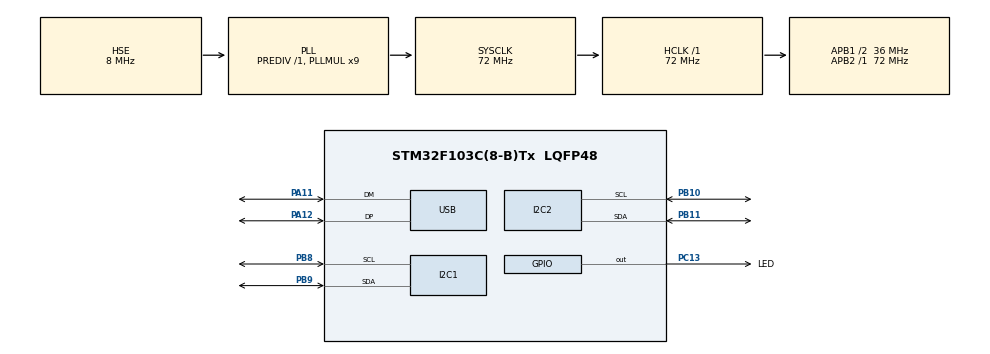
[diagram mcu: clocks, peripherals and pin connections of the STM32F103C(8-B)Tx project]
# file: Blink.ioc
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I2C1.I2C_Mode=I2C_Fast
I2C2.I2C_Mode=I2C_Fast
Mcu.Family=STM32F1
Mcu.Name=STM32F103C(8-B)Tx
Mcu.Package=LQFP48
NVIC.PriorityGroup=NVIC_PRIORITYGROUP_4
NVIC.USB_LP_CAN1_RX0_IRQn=true\:0\:0\:false\:false\:true\:false\:true
PA11.Mode=Device
PA11.Signal=USB_DM
PA12.Mode=Device
PA12.Signal=USB_DP
PA13.Mode=Serial_Wire
PA13.Signal=SYS_JTMS-SWDIO
PA14.Mode=Serial_Wire
PA14.Signal=SYS_JTCK-SWCLK
PB10.Mode=I2C
PB10.Signal=I2C2_SCL
PB11.Mode=I2C
PB11.Signal=I2C2_SDA
PB8.GPIO_Mode=GPIO_MODE_AF_OD
PB8.Mode=I2C
PB8.Signal=I2C1_SCL
PB9.GPIO_Mode=GPIO_MODE_AF_OD
PB9.Mode=I2C
PB9.Signal=I2C1_SDA
PC13-TAMPER-RTC.GPIO_Label=LED
PC13-TAMPER-RTC.Signal=GPIO_Output
PD0-OSC_IN.Mode=HSE-External-Oscillator
PD0-OSC_IN.Signal=RCC_OSC_IN
PD1-OSC_OUT.Mode=HSE-External-Oscillator
PD1-OSC_OUT.Signal=RCC_OSC_OUT
ProjectManager.HeapSize=0x200
ProjectManager.StackSize=0x400
ProjectManager.TargetToolchain=STM32CubeIDE
RCC.AHBFreq_Value=72000000
RCC.APB1CLKDivider=RCC_HCLK_DIV2
RCC.APB1Freq_Value=36000000
RCC.APB1TimFreq_Value=72000000
RCC.APB2Freq_Value=72000000
RCC.APB2TimFreq_Value=72000000
RCC.HCLKFreq_Value=72000000
RCC.PLLMUL=RCC_PLL_MUL9
RCC.PLLSourceVirtual=RCC_PLLSOURCE_HSE
RCC.SYSCLKFreq_VALUE=72000000
RCC.SYSCLKSource=RCC_SYSCLKSOURCE_PLLCLK
RCC.USBFreq_Value=48000000
RCC.USBPrescaler=RCC_USBCLKSOURCE_PLL_DIV1_5
USB_DEVICE.CLASS_NAME_FS=CDC
USB_DEVICE.VirtualMode=Cdc
USB_DEVICE.VirtualModeFS=Cdc_FS
VP_USB_DEVICE_VS_USB_DEVICE_CDC_FS.Mode=CDC_FS
board=custom

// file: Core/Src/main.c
/* USER CODE BEGIN Header */
/**
  ******************************************************************************
  * @file           : main.c
  * @brief          : Main program body
  ******************************************************************************
  * @attention
  *
  * <h2><center>&copy; Copyright (c) 2020 STMicroelectronics.
  * All rights reserved.</center></h2>
  *
  * This software component is licensed by ST under BSD 3-Clause license,
  * the "License"; You may not use this file except in compliance with the
  * License. You may obtain a copy of the License at:
  *                        opensource.org/licenses/BSD-3-Clause
  *
  ******************************************************************************
  */
/* USER CODE END Header */

#include "main.h"
#include "usb_device.h"

I2C_HandleTypeDef hi2c1;
I2C_HandleTypeDef hi2c2;

/* USER CODE BEGIN PV */
char CDC_tx_buff[60];//El buffer para enviar los datos por usb
uint8_t CDC_tx_size;//tamaño de buffer
char CDC_rx_flag;//Variable que se modifica en el archivo  usbd_cdc_if.c
extern uint8_t CDC_Transmit_FS(uint8_t* Buf, uint16_t Len); //Función que se usa para enviar por usbd_cdc_if.c
/* USER CODE END PV */

void SystemClock_Config(void);
static void MX_GPIO_Init(void);
static void MX_I2C1_Init(void);
static void MX_I2C2_Init(void);

int main(void)
{

  /* MCU Configuration--------------------------------------------------------*/

  /* Reset of all peripherals, Initializes the Flash interface and the Systick. */
  HAL_Init();

  /* Configure the system clock */
  SystemClock_Config();

  /* Initialize all configured peripherals */
  MX_GPIO_Init();
  MX_I2C1_Init();
  MX_USB_DEVICE_Init();
  MX_I2C2_Init();

  /* Infinite loop */
  /* USER CODE BEGIN WHILE */

  while (1)
  {
	HAL_Delay(100);
	CDC_tx_size=sprintf(CDC_tx_buff,"Scanning I2C bus:\r\n");//Guarda en la variable CDC_tx_buff el string y el tamaño del string queda en CDC_size_buff
	CDC_Transmit_FS((uint8_t *)&CDC_tx_buff,CDC_tx_size);//Transmite por USB
	uint8_t i=1;
	for (i=1; i<128; i++)
	{
		int result = HAL_I2C_IsDeviceReady(&hi2c2,i<<1,1,1);
		if (result != HAL_OK) // HAL_ERROR or HAL_BUSY or HAL_TIMEOUT
		{
			//CDC_tx_size=sprintf(CDC_tx_buff,".");//Guarda en la variable CDC_tx_buff el string y el tamaño del string queda en CDC_size_buff
			//CDC_Transmit_FS(CDC_tx_buff,CDC_tx_size);//Transmite por USB
		}else{
			CDC_tx_size=sprintf(CDC_tx_buff,"0x%X", i);//Guarda en la variable CDC_tx_buff el string y el tamaño del string queda en CDC_size_buff
			CDC_Transmit_FS((uint8_t *)CDC_tx_buff,CDC_tx_size);//Transmite por USB
			HAL_GPIO_TogglePin(LED_GPIO_Port, LED_Pin);
		}
	}
    /* USER CODE END WHILE */

  }
}

void SystemClock_Config(void)
{
  RCC_OscInitTypeDef RCC_OscInitStruct = {0};
  RCC_ClkInitTypeDef RCC_ClkInitStruct = {0};
  RCC_PeriphCLKInitTypeDef PeriphClkInit = {0};

  /** Initializes the CPU, AHB and APB busses clocks
  */
  RCC_OscInitStruct.OscillatorType = RCC_OSCILLATORTYPE_HSE;
  RCC_OscInitStruct.HSEState = RCC_HSE_ON;
  RCC_OscInitStruct.HSEPredivValue = RCC_HSE_PREDIV_DIV1;
  RCC_OscInitStruct.HSIState = RCC_HSI_ON;
  RCC_OscInitStruct.PLL.PLLState = RCC_PLL_ON;
  RCC_OscInitStruct.PLL.PLLSource = RCC_PLLSOURCE_HSE;
  RCC_OscInitStruct.PLL.PLLMUL = RCC_PLL_MUL9;
  if (HAL_RCC_OscConfig(&RCC_OscInitStruct) != HAL_OK)
  {
    Error_Handler();
  }
  /** Initializes the CPU, AHB and APB busses clocks
  */
  RCC_ClkInitStruct.ClockType = RCC_CLOCKTYPE_HCLK|RCC_CLOCKTYPE_SYSCLK
                              |RCC_CLOCKTYPE_PCLK1|RCC_CLOCKTYPE_PCLK2;
  RCC_ClkInitStruct.SYSCLKSource = RCC_SYSCLKSOURCE_PLLCLK;
  RCC_ClkInitStruct.AHBCLKDivider = RCC_SYSCLK_DIV1;
  RCC_ClkInitStruct.APB1CLKDivider = RCC_HCLK_DIV2;
  RCC_ClkInitStruct.APB2CLKDivider = RCC_HCLK_DIV1;

  if (HAL_RCC_ClockConfig(&RCC_ClkInitStruct, FLASH_LATENCY_2) != HAL_OK)
  {
    Error_Handler();
  }
  PeriphClkInit.PeriphClockSelection = RCC_PERIPHCLK_USB;
  PeriphClkInit.UsbClockSelection = RCC_USBCLKSOURCE_PLL_DIV1_5;
  if (HAL_RCCEx_PeriphCLKConfig(&PeriphClkInit) != HAL_OK)
  {
    Error_Handler();
  }
}

static void MX_I2C1_Init(void)
{

  hi2c1.Instance = I2C1;
  hi2c1.Init.ClockSpeed = 400000;
  hi2c1.Init.DutyCycle = I2C_DUTYCYCLE_2;
  hi2c1.Init.OwnAddress1 = 0;
  hi2c1.Init.AddressingMode = I2C_ADDRESSINGMODE_7BIT;
  hi2c1.Init.DualAddressMode = I2C_DUALADDRESS_DISABLE;
  hi2c1.Init.OwnAddress2 = 0;
  hi2c1.Init.GeneralCallMode = I2C_GENERALCALL_DISABLE;
  hi2c1.Init.NoStretchMode = I2C_NOSTRETCH_DISABLE;
  if (HAL_I2C_Init(&hi2c1) != HAL_OK)
  {
    Error_Handler();
  }

}

static void MX_I2C2_Init(void)
{

  hi2c2.Instance = I2C2;
  hi2c2.Init.ClockSpeed = 400000;
  hi2c2.Init.DutyCycle = I2C_DUTYCYCLE_2;
  hi2c2.Init.OwnAddress1 = 0;
  hi2c2.Init.AddressingMode = I2C_ADDRESSINGMODE_7BIT;
  hi2c2.Init.DualAddressMode = I2C_DUALADDRESS_DISABLE;
  hi2c2.Init.OwnAddress2 = 0;
  hi2c2.Init.GeneralCallMode = I2C_GENERALCALL_DISABLE;
  hi2c2.Init.NoStretchMode = I2C_NOSTRETCH_DISABLE;
  if (HAL_I2C_Init(&hi2c2) != HAL_OK)
  {
    Error_Handler();
  }

}

static void MX_GPIO_Init(void)
{
  GPIO_InitTypeDef GPIO_InitStruct = {0};

  /* GPIO Ports Clock Enable */
  __HAL_RCC_GPIOC_CLK_ENABLE();
  __HAL_RCC_GPIOD_CLK_ENABLE();
  __HAL_RCC_GPIOB_CLK_ENABLE();
  __HAL_RCC_GPIOA_CLK_ENABLE();

  /*Configure GPIO pin Output Level */
  HAL_GPIO_WritePin(LED_GPIO_Port, LED_Pin, GPIO_PIN_RESET);

  /*Configure GPIO pin : LED_Pin */
  GPIO_InitStruct.Pin = LED_Pin;
  GPIO_InitStruct.Mode = GPIO_MODE_OUTPUT_PP;
  GPIO_InitStruct.Pull = GPIO_NOPULL;
  GPIO_InitStruct.Speed = GPIO_SPEED_FREQ_LOW;
  HAL_GPIO_Init(LED_GPIO_Port, &GPIO_InitStruct);

}

void Error_Handler(void)
{
}

/************************ (C) COPYRIGHT STMicroelectronics *****END OF FILE****/
